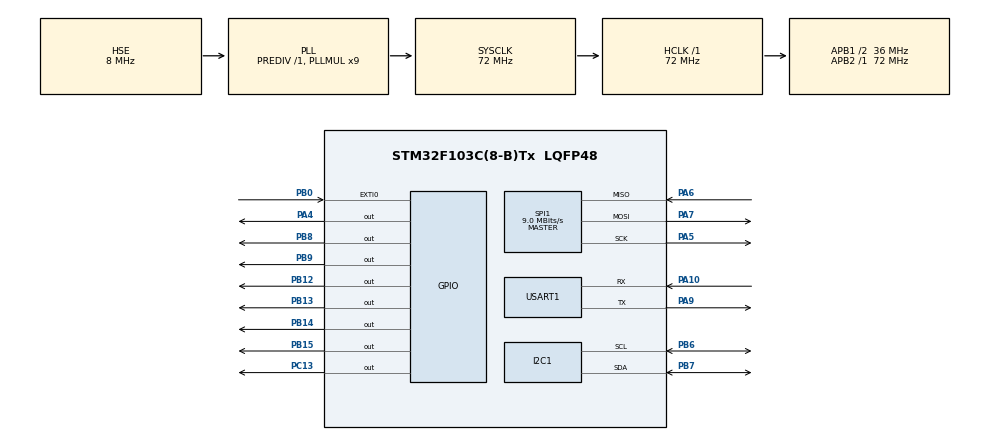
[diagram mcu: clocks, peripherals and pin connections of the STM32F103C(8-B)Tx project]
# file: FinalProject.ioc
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Mcu.Family=STM32F1
Mcu.Name=STM32F103C(8-B)Tx
Mcu.Package=LQFP48
NVIC.EXTI0_IRQn=true\:0\:0\:true\:false\:true\:true\:true\:true
NVIC.PriorityGroup=NVIC_PRIORITYGROUP_4
NVIC.USART1_IRQn=true\:0\:0\:false\:false\:true\:true\:true\:true
PA10.Mode=Asynchronous
PA10.Signal=USART1_RX
PA4.Signal=GPIO_Output
PA5.Mode=Full_Duplex_Master
PA5.Signal=SPI1_SCK
PA6.Mode=Full_Duplex_Master
PA6.Signal=SPI1_MISO
PA7.Mode=Full_Duplex_Master
PA7.Signal=SPI1_MOSI
PA9.Mode=Asynchronous
PA9.Signal=USART1_TX
PB0.Signal=GPXTI0
PB12.Signal=GPIO_Output
PB13.Signal=GPIO_Output
PB14.Signal=GPIO_Output
PB15.Signal=GPIO_Output
PB6.Mode=I2C
PB6.Signal=I2C1_SCL
PB7.Mode=I2C
PB7.Signal=I2C1_SDA
PB8.Signal=GPIO_Output
PB9.Signal=GPIO_Output
PC13-TAMPER-RTC.Signal=GPIO_Output
PD0-OSC_IN.Mode=HSE-External-Oscillator
PD0-OSC_IN.Signal=RCC_OSC_IN
PD1-OSC_OUT.Mode=HSE-External-Oscillator
PD1-OSC_OUT.Signal=RCC_OSC_OUT
ProjectManager.HeapSize=0x200
ProjectManager.StackSize=0x400
ProjectManager.TargetToolchain=MDK-ARM V5.32
RCC.AHBFreq_Value=72000000
RCC.APB1CLKDivider=RCC_HCLK_DIV2
RCC.APB1Freq_Value=36000000
RCC.APB1TimFreq_Value=72000000
RCC.APB2Freq_Value=72000000
RCC.APB2TimFreq_Value=72000000
RCC.HCLKFreq_Value=72000000
RCC.PLLMUL=RCC_PLL_MUL9
RCC.PLLSourceVirtual=RCC_PLLSOURCE_HSE
RCC.SYSCLKFreq_VALUE=72000000
RCC.SYSCLKSource=RCC_SYSCLKSOURCE_PLLCLK
RCC.USBFreq_Value=72000000
SPI1.BaudRatePrescaler=SPI_BAUDRATEPRESCALER_8
SPI1.CalculateBaudRate=9.0 MBits/s
SPI1.Direction=SPI_DIRECTION_2LINES
SPI1.Mode=SPI_MODE_MASTER
SPI1.VirtualType=VM_MASTER
TIM1.Period=65534
TIM1.Prescaler=72-1
USART1.VirtualMode=VM_ASYNC
VP_SYS_VS_ND.Mode=No_Debug
VP_TIM1_VS_ClockSourceINT.Mode=Internal
board=custom

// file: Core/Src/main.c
/* USER CODE BEGIN Header */
/**
  ******************************************************************************
  * @file           : main.c
  * @brief          : Main program body
  ******************************************************************************
  * @attention
  *
  * Copyright (c) 2023 STMicroelectronics.
  * All rights reserved.
  *
  * This software is licensed under terms that can be found in the LICENSE file
  * in the root directory of this software component.
  * If no LICENSE file comes with this software, it is provided AS-IS.
  *
  ******************************************************************************
  */
/* USER CODE END Header */
#include "main.h"

/* USER CODE BEGIN Includes */

#include <string.h>
#include "rc522.h"
#include <stdio.h>
#include "liquidcrystal_i2c.h"
/* USER CODE END Includes */

/* USER CODE BEGIN PD */
#define stepsperrev 4096

/* USER CODE END PD */

I2C_HandleTypeDef hi2c1;

SPI_HandleTypeDef hspi1;

TIM_HandleTypeDef htim1;

UART_HandleTypeDef huart1;

/* USER CODE BEGIN PV */
uint8_t str[5];
uint8_t ButtonCooldown = 255;
uint8_t isSignUp = 0;
char last_message[9] = {0};
char receivedData[1]= {0};
uint8_t RFID_spam = 0;
uint16_t resend_delay = 0;

/* USER CODE END PV */

void SystemClock_Config(void);
static void MX_GPIO_Init(void);
static void MX_I2C1_Init(void);
static void MX_SPI1_Init(void);
static void MX_TIM1_Init(void);
static void MX_USART1_UART_Init(void);
/* USER CODE BEGIN PFP */
void UART_SendData(const char *data);
void delay (uint16_t us);
void stepper_set_rpm (int rpm);  // Set rpm--> max 13, min 1,,,  went to 14 rev/min
void stepper_half_drive (int step);
void stepper_step_angle (float angle, int direction, int rpm);
void display_welcome();

/* USER CODE END PFP */

int main(void)
{

  /* MCU Configuration--------------------------------------------------------*/

  /* Reset of all peripherals, Initializes the Flash interface and the Systick. */
  HAL_Init();

  /* Configure the system clock */
  SystemClock_Config();

  /* Initialize all configured peripherals */
  MX_GPIO_Init();
  MX_I2C1_Init();
  MX_SPI1_Init();
  MX_TIM1_Init();
  MX_USART1_UART_Init();
  /* USER CODE BEGIN 2 */
	HAL_TIM_Base_Start(&htim1);
	MFRC522_Init();
	HD44780_Init(2);
  /* USER CODE END 2 */

  /* Infinite loop */
  /* USER CODE BEGIN WHILE */
	stepper_step_angle(90, 1, 10);
	stepper_step_angle(90, 0, 10);
	HAL_GPIO_WritePin(GPIOB, GPIO_PIN_8, 0);
	HAL_GPIO_WritePin(GPIOB, GPIO_PIN_9, isSignUp);
	display_welcome();
	HAL_UART_Receive_IT(&huart1, (uint8_t *) receivedData, 1);

  while (1)
  {
		// RFID
		if(!MFRC522_Request(PICC_REQIDL, str))
		{
			if (RFID_spam && resend_delay) RFID_spam = 200;
			else if(!MFRC522_Anticoll(str))
		  {
				char buffer[9];
				HAL_GPIO_TogglePin(GPIOB, GPIO_PIN_8);
				sprintf(buffer, "%x%x%x%x%x", str[0], str[1], str[2], str[3], str[4]);
				buffer[8]= isSignUp? '1' : '0';
				if (strcmp(buffer, last_message) || !resend_delay)
				{
					UART_SendData(buffer);
					strcpy(last_message, buffer);
					resend_delay = 3000;
				}
				RFID_spam = 200;
			}
		}

		// Message from ESP32
		if (receivedData[0])
		{
			HD44780_Clear();
			HD44780_SetCursor(0,0);

			switch (receivedData[0])
			{
				case '0':
						HD44780_PrintStr("INVALID CARD!!!");
						HD44780_SetCursor(0,1);
						HD44780_PrintStr("PLS CHECK AGAIN!");
					break;

				case '1':
						HD44780_PrintStr("VALID CARD!!!");
						HD44780_SetCursor(0,1);
						HD44780_PrintStr("PLEASE COME IN!!");
						stepper_step_angle(90, 1, 10);
						HAL_Delay(3000);
						stepper_step_angle(90,0, 10);
					break;

				case '2':
						HD44780_PrintStr("VALID CARD!!!");
						HD44780_SetCursor(0,1);
						HD44780_PrintStr("SEE YOU AGAIN!!");
						stepper_step_angle(90, 1, 10);
						HAL_Delay(3000);
						stepper_step_angle(90,0, 10);
					break;

				case '3':
						HD44780_PrintStr("REGISTERED!!!");
						HD44780_SetCursor(0,1);
						HD44780_PrintStr("THANK YOU!!!");
					break;

				case '4':
						HD44780_PrintStr("REGISTER FAILED!");
						HD44780_SetCursor(0,1);
						HD44780_PrintStr("PLS CHANGE CARD!");
					break;

				case '5':
						HD44780_PrintStr("CANNOT CONNECT");
						HD44780_SetCursor(0,1);
						HD44780_PrintStr("TO SERVER!");
					break;

				case '6':
						HD44780_PrintStr("ACCOUNT BALANCE");
						HD44780_SetCursor(0,1);
						HD44780_PrintStr("IS INSUFFICIENT!");
				break;
			}

			if (receivedData[0] != '1' && receivedData[0] != '2')
				HAL_Delay(3000);
			display_welcome();
			receivedData[0] = '\0';

		}

    /* USER CODE END WHILE */

  }
}

void SystemClock_Config(void)
{
  RCC_OscInitTypeDef RCC_OscInitStruct = {0};
  RCC_ClkInitTypeDef RCC_ClkInitStruct = {0};

  /** Initializes the RCC Oscillators according to the specified parameters
  * in the RCC_OscInitTypeDef structure.
  */
  RCC_OscInitStruct.OscillatorType = RCC_OSCILLATORTYPE_HSE;
  RCC_OscInitStruct.HSEState = RCC_HSE_ON;
  RCC_OscInitStruct.HSEPredivValue = RCC_HSE_PREDIV_DIV1;
  RCC_OscInitStruct.HSIState = RCC_HSI_ON;
  RCC_OscInitStruct.PLL.PLLState = RCC_PLL_ON;
  RCC_OscInitStruct.PLL.PLLSource = RCC_PLLSOURCE_HSE;
  RCC_OscInitStruct.PLL.PLLMUL = RCC_PLL_MUL9;
  if (HAL_RCC_OscConfig(&RCC_OscInitStruct) != HAL_OK)
  {
    Error_Handler();
  }

  /** Initializes the CPU, AHB and APB buses clocks
  */
  RCC_ClkInitStruct.ClockType = RCC_CLOCKTYPE_HCLK|RCC_CLOCKTYPE_SYSCLK
                              |RCC_CLOCKTYPE_PCLK1|RCC_CLOCKTYPE_PCLK2;
  RCC_ClkInitStruct.SYSCLKSource = RCC_SYSCLKSOURCE_PLLCLK;
  RCC_ClkInitStruct.AHBCLKDivider = RCC_SYSCLK_DIV1;
  RCC_ClkInitStruct.APB1CLKDivider = RCC_HCLK_DIV2;
  RCC_ClkInitStruct.APB2CLKDivider = RCC_HCLK_DIV1;

  if (HAL_RCC_ClockConfig(&RCC_ClkInitStruct, FLASH_LATENCY_2) != HAL_OK)
  {
    Error_Handler();
  }
}

static void MX_I2C1_Init(void)
{

  hi2c1.Instance = I2C1;
  hi2c1.Init.ClockSpeed = 100000;
  hi2c1.Init.DutyCycle = I2C_DUTYCYCLE_2;
  hi2c1.Init.OwnAddress1 = 0;
  hi2c1.Init.AddressingMode = I2C_ADDRESSINGMODE_7BIT;
  hi2c1.Init.DualAddressMode = I2C_DUALADDRESS_DISABLE;
  hi2c1.Init.OwnAddress2 = 0;
  hi2c1.Init.GeneralCallMode = I2C_GENERALCALL_DISABLE;
  hi2c1.Init.NoStretchMode = I2C_NOSTRETCH_DISABLE;
  if (HAL_I2C_Init(&hi2c1) != HAL_OK)
  {
    Error_Handler();
  }

}

static void MX_SPI1_Init(void)
{

  /* SPI1 parameter configuration*/
  hspi1.Instance = SPI1;
  hspi1.Init.Mode = SPI_MODE_MASTER;
  hspi1.Init.Direction = SPI_DIRECTION_2LINES;
  hspi1.Init.DataSize = SPI_DATASIZE_8BIT;
  hspi1.Init.CLKPolarity = SPI_POLARITY_LOW;
  hspi1.Init.CLKPhase = SPI_PHASE_1EDGE;
  hspi1.Init.NSS = SPI_NSS_SOFT;
  hspi1.Init.BaudRatePrescaler = SPI_BAUDRATEPRESCALER_8;
  hspi1.Init.FirstBit = SPI_FIRSTBIT_MSB;
  hspi1.Init.TIMode = SPI_TIMODE_DISABLE;
  hspi1.Init.CRCCalculation = SPI_CRCCALCULATION_DISABLE;
  hspi1.Init.CRCPolynomial = 10;
  if (HAL_SPI_Init(&hspi1) != HAL_OK)
  {
    Error_Handler();
  }

}

static void MX_TIM1_Init(void)
{

  TIM_ClockConfigTypeDef sClockSourceConfig = {0};
  TIM_MasterConfigTypeDef sMasterConfig = {0};

  htim1.Instance = TIM1;
  htim1.Init.Prescaler = 72-1;
  htim1.Init.CounterMode = TIM_COUNTERMODE_UP;
  htim1.Init.Period = 65534;
  htim1.Init.ClockDivision = TIM_CLOCKDIVISION_DIV1;
  htim1.Init.RepetitionCounter = 0;
  htim1.Init.AutoReloadPreload = TIM_AUTORELOAD_PRELOAD_DISABLE;
  if (HAL_TIM_Base_Init(&htim1) != HAL_OK)
  {
    Error_Handler();
  }
  sClockSourceConfig.ClockSource = TIM_CLOCKSOURCE_INTERNAL;
  if (HAL_TIM_ConfigClockSource(&htim1, &sClockSourceConfig) != HAL_OK)
  {
    Error_Handler();
  }
  sMasterConfig.MasterOutputTrigger = TIM_TRGO_RESET;
  sMasterConfig.MasterSlaveMode = TIM_MASTERSLAVEMODE_DISABLE;
  if (HAL_TIMEx_MasterConfigSynchronization(&htim1, &sMasterConfig) != HAL_OK)
  {
    Error_Handler();
  }

}

static void MX_USART1_UART_Init(void)
{

  huart1.Instance = USART1;
  huart1.Init.BaudRate = 115200;
  huart1.Init.WordLength = UART_WORDLENGTH_8B;
  huart1.Init.StopBits = UART_STOPBITS_1;
  huart1.Init.Parity = UART_PARITY_NONE;
  huart1.Init.Mode = UART_MODE_TX_RX;
  huart1.Init.HwFlowCtl = UART_HWCONTROL_NONE;
  huart1.Init.OverSampling = UART_OVERSAMPLING_16;
  if (HAL_UART_Init(&huart1) != HAL_OK)
  {
    Error_Handler();
  }

}

static void MX_GPIO_Init(void)
{
  GPIO_InitTypeDef GPIO_InitStruct = {0};

  /* GPIO Ports Clock Enable */
  __HAL_RCC_GPIOC_CLK_ENABLE();
  __HAL_RCC_GPIOD_CLK_ENABLE();
  __HAL_RCC_GPIOA_CLK_ENABLE();
  __HAL_RCC_GPIOB_CLK_ENABLE();

  /*Configure GPIO pin Output Level */
  HAL_GPIO_WritePin(GPIOC, GPIO_PIN_13, GPIO_PIN_RESET);

  /*Configure GPIO pin Output Level */
  HAL_GPIO_WritePin(GPIOA, GPIO_PIN_4, GPIO_PIN_RESET);

  /*Configure GPIO pin Output Level */
  HAL_GPIO_WritePin(GPIOB, GPIO_PIN_12|GPIO_PIN_13|GPIO_PIN_14|GPIO_PIN_15
                          |GPIO_PIN_8|GPIO_PIN_9, GPIO_PIN_RESET);

  /*Configure GPIO pin : PC13 */
  GPIO_InitStruct.Pin = GPIO_PIN_13;
  GPIO_InitStruct.Mode = GPIO_MODE_OUTPUT_PP;
  GPIO_InitStruct.Pull = GPIO_NOPULL;
  GPIO_InitStruct.Speed = GPIO_SPEED_FREQ_LOW;
  HAL_GPIO_Init(GPIOC, &GPIO_InitStruct);

  /*Configure GPIO pin : PA4 */
  GPIO_InitStruct.Pin = GPIO_PIN_4;
  GPIO_InitStruct.Mode = GPIO_MODE_OUTPUT_PP;
  GPIO_InitStruct.Pull = GPIO_NOPULL;
  GPIO_InitStruct.Speed = GPIO_SPEED_FREQ_LOW;
  HAL_GPIO_Init(GPIOA, &GPIO_InitStruct);

  /*Configure GPIO pin : PB0 */
  GPIO_InitStruct.Pin = GPIO_PIN_0;
  GPIO_InitStruct.Mode = GPIO_MODE_IT_RISING;
  GPIO_InitStruct.Pull = GPIO_NOPULL;
  HAL_GPIO_Init(GPIOB, &GPIO_InitStruct);

  /*Configure GPIO pins : PB12 PB13 PB14 PB15
                           PB8 PB9 */
  GPIO_InitStruct.Pin = GPIO_PIN_12|GPIO_PIN_13|GPIO_PIN_14|GPIO_PIN_15
                          |GPIO_PIN_8|GPIO_PIN_9;
  GPIO_InitStruct.Mode = GPIO_MODE_OUTPUT_PP;
  GPIO_InitStruct.Pull = GPIO_NOPULL;
  GPIO_InitStruct.Speed = GPIO_SPEED_FREQ_LOW;
  HAL_GPIO_Init(GPIOB, &GPIO_InitStruct);

  /* EXTI interrupt init*/
  HAL_NVIC_SetPriority(EXTI0_IRQn, 0, 0);
  HAL_NVIC_EnableIRQ(EXTI0_IRQn);

}

/* USER CODE BEGIN 4 */
void HAL_GPIO_EXTI_Callback(uint16_t GPIO_Pin)
{
	if (GPIO_Pin == GPIO_PIN_0 && !ButtonCooldown)
	{
		ButtonCooldown = 255;
		isSignUp = !isSignUp;
		HAL_GPIO_WritePin(GPIOB, GPIO_PIN_9, isSignUp);
  }
}

void HAL_UART_RxCpltCallback(UART_HandleTypeDef *huart)
{
  /* Prevent unused argument(s) compilation warning */
  UNUSED(huart);
  UART_Start_Receive_IT(&huart1, (uint8_t *)receivedData, 1);
}

void HAL_IncTick(void)
{
  uwTick += uwTickFreq;

	if (ButtonCooldown) ButtonCooldown -= 1;
	if (resend_delay) resend_delay -= 1;
	if (RFID_spam) RFID_spam -= 1;

}

void UART_SendData(const char *data)
{
  HAL_UART_Transmit(&huart1, (uint8_t *)data, 9, 10);
}

void delay (uint16_t us)
{
  __HAL_TIM_SET_COUNTER(&htim1, 0);
  while (__HAL_TIM_GET_COUNTER(&htim1) < us);
}

void stepper_set_rpm (int rpm)  // Set rpm--> max 13, min 1,,,  went to 14 rev/min
{
	delay(60000000/stepsperrev/rpm);
}

void stepper_half_drive (int step)
{
	switch (step)
	{
		case 0:
			  HAL_GPIO_WritePin(GPIOB, GPIO_PIN_12, GPIO_PIN_SET);   // IN1
			  HAL_GPIO_WritePin(GPIOB, GPIO_PIN_13, GPIO_PIN_RESET);   // IN2
			  HAL_GPIO_WritePin(GPIOB, GPIO_PIN_14, GPIO_PIN_RESET);   // IN3
			  HAL_GPIO_WritePin(GPIOB, GPIO_PIN_15, GPIO_PIN_RESET);   // IN4
			  break;

		case 1:
			  HAL_GPIO_WritePin(GPIOB, GPIO_PIN_12, GPIO_PIN_SET);   // IN1
			  HAL_GPIO_WritePin(GPIOB, GPIO_PIN_13, GPIO_PIN_SET);   // IN2
			  HAL_GPIO_WritePin(GPIOB, GPIO_PIN_14, GPIO_PIN_RESET);   // IN3
			  HAL_GPIO_WritePin(GPIOB, GPIO_PIN_15, GPIO_PIN_RESET);   // IN4
			  break;

		case 2:
			  HAL_GPIO_WritePin(GPIOB, GPIO_PIN_12, GPIO_PIN_RESET);   // IN1
			  HAL_GPIO_WritePin(GPIOB, GPIO_PIN_13, GPIO_PIN_SET);   // IN2
			  HAL_GPIO_WritePin(GPIOB, GPIO_PIN_14, GPIO_PIN_RESET);   // IN3
			  HAL_GPIO_WritePin(GPIOB, GPIO_PIN_15, GPIO_PIN_RESET);   // IN4
			  break;

		case 3:
			  HAL_GPIO_WritePin(GPIOB, GPIO_PIN_12, GPIO_PIN_RESET);   // IN1
			  HAL_GPIO_WritePin(GPIOB, GPIO_PIN_13, GPIO_PIN_SET);   // IN2
			  HAL_GPIO_WritePin(GPIOB, GPIO_PIN_14, GPIO_PIN_SET);   // IN3
			  HAL_GPIO_WritePin(GPIOB, GPIO_PIN_15, GPIO_PIN_RESET);   // IN4
			  break;

		case 4:
			  HAL_GPIO_WritePin(GPIOB, GPIO_PIN_12, GPIO_PIN_RESET);   // IN1
			  HAL_GPIO_WritePin(GPIOB, GPIO_PIN_13, GPIO_PIN_RESET);   // IN2
			  HAL_GPIO_WritePin(GPIOB, GPIO_PIN_14, GPIO_PIN_SET);   // IN3
			  HAL_GPIO_WritePin(GPIOB, GPIO_PIN_15, GPIO_PIN_RESET);   // IN4
			  break;

		case 5:
			  HAL_GPIO_WritePin(GPIOB, GPIO_PIN_12, GPIO_PIN_RESET);   // IN1
			  HAL_GPIO_WritePin(GPIOB, GPIO_PIN_13, GPIO_PIN_RESET);   // IN2
			  HAL_GPIO_WritePin(GPIOB, GPIO_PIN_14, GPIO_PIN_SET);   // IN3
			  HAL_GPIO_WritePin(GPIOB, GPIO_PIN_15, GPIO_PIN_SET);   // IN4
			  break;

		case 6:
			  HAL_GPIO_WritePin(GPIOB, GPIO_PIN_12, GPIO_PIN_RESET);   // IN1
			  HAL_GPIO_WritePin(GPIOB, GPIO_PIN_13, GPIO_PIN_RESET);   // IN2
			  HAL_GPIO_WritePin(GPIOB, GPIO_PIN_14, GPIO_PIN_RESET);   // IN3
			  HAL_GPIO_WritePin(GPIOB, GPIO_PIN_15, GPIO_PIN_SET);   // IN4
			  break;

		case 7:
			  HAL_GPIO_WritePin(GPIOB, GPIO_PIN_12, GPIO_PIN_SET);   // IN1
			  HAL_GPIO_WritePin(GPIOB, GPIO_PIN_13, GPIO_PIN_RESET);   // IN2
			  HAL_GPIO_WritePin(GPIOB, GPIO_PIN_14, GPIO_PIN_RESET);   // IN3
			  HAL_GPIO_WritePin(GPIOB, GPIO_PIN_15, GPIO_PIN_SET);   // IN4
			  break;

	}
}

void stepper_step_angle (float angle, int direction, int rpm)
{
	float anglepersequence = 0.703125;  // 360 = 512 sequences
	int numberofsequences = (int) (angle/anglepersequence);

	for (int seq=0; seq<numberofsequences; seq++)
	{
		if (direction == 0)  // for clockwise
		{
			for (int step=7; step>=0; step--)
			{
				stepper_half_drive(step);
				stepper_set_rpm(rpm);
			}

		}

		else if (direction == 1)  // for anti-clockwise
		{
			for (int step=0; step<8; step++)
			{
				stepper_half_drive(step);
				stepper_set_rpm(rpm);
			}
		}
	}
}

void display_welcome()
{
	HD44780_Clear();
	HD44780_SetCursor(0,0);
	HD44780_PrintStr("UIT PARKING");
}

/* USER CODE END 4 */

void Error_Handler(void)
{
  __disable_irq();
  while (1)
  {
  }
}
